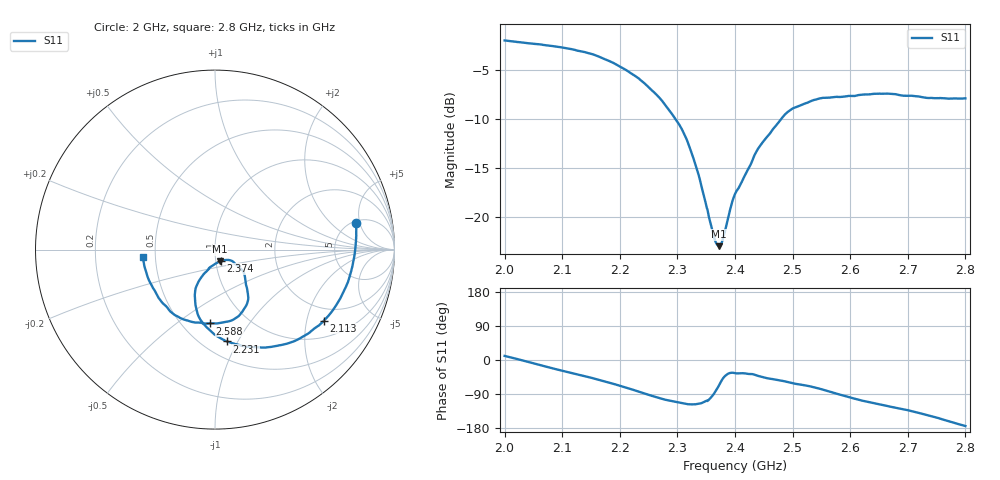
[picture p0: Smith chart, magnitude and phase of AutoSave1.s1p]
!Agilent N9923A: A.05.17
!Date: Sunday, 01 January 2006 12:09:51
!Model: N9923A
!Serial: MY50371189
!CHECKSUM:0690961775
!Correction: S11(ON U)
!S1P File: Measurement: S11:
# Hz S RI R 50
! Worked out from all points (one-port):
!   1001 points, 2 GHz to 2.8 GHz, reference 50 ohm
!   lowest |S11| = -23.0 dB at 2.372 GHz (marker M1), VSWR 1.15, Z = 52.3 - j6.91 ohm
!   |S11| at or under -10 dB: 2.297 GHz to 2.48 GHz (183 MHz wide, 7.66 % of centre)
!   S11 on the Smith chart (normalised r, x): 2 GHz: 5.27, +4.36; 2.113 GHz: 1.53, -2.54; 2.231 GHz: 0.65, -0.90; 2.374 GHz: 1.06, -0.13; 2.588 GHz: 0.68, -0.67; 2.8 GHz: 0.42, -0.04
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2e9  0.7849 0.1494
2.0504e9  0.7594 -0.1176
2.1e9  0.6473 -0.3505
2.1128e9  0.607 -0.3952
2.1592e9  0.4247 -0.5161
2.2e9  0.224 -0.5434
2.2312e9  0.0654 -0.5115
2.2688e9  -0.0744 -0.4003
2.3e9  -0.1103 -0.2855
2.3136e9  -0.1108 -0.2346
2.3272e9  -0.0925 -0.18
2.3384e9  -0.0678 -0.1429
2.3632e9  0.000463 -0.0797
2.372e9  0.0271 -0.0657
2.3736e9  0.0325 -0.0635
2.3792e9  0.0517 -0.0583
2.4e9  0.1082 -0.0746
2.4272e9  0.1483 -0.1116
2.4416e9  0.1671 -0.1537
2.484e9  0.1853 -0.2701
2.5e9  0.1725 -0.3144
2.54e9  0.1165 -0.3809
2.588e9  -0.0274 -0.4114
2.6e9  -0.0669 -0.4104
2.6528e9  -0.1979 -0.3781
2.7e9  -0.2817 -0.3076
2.7608e9  -0.3729 -0.1585
2.8e9  -0.4024 -0.0409
